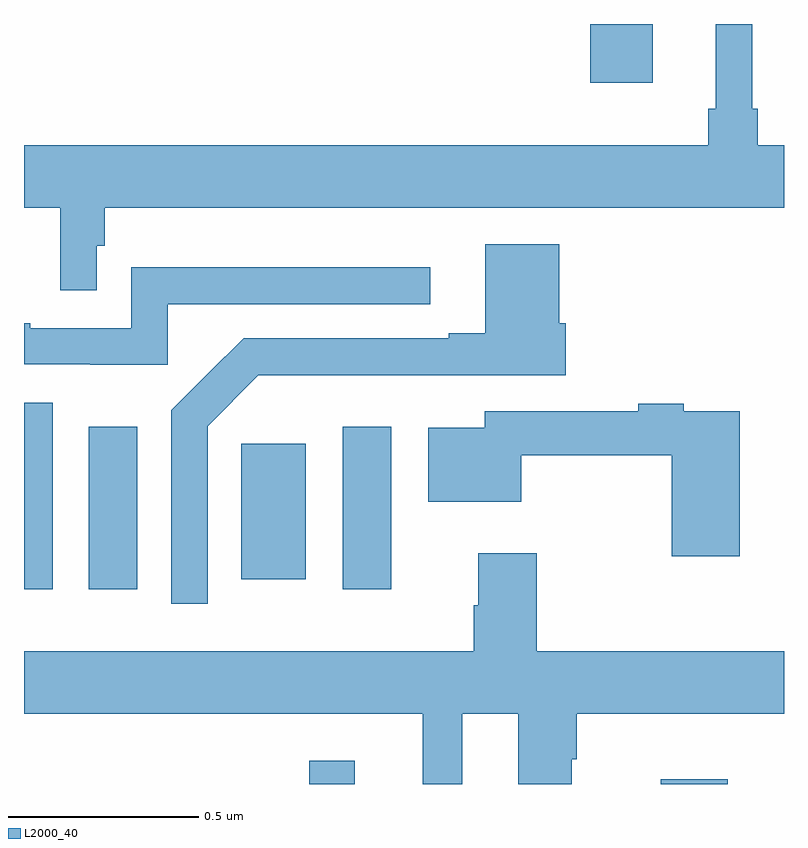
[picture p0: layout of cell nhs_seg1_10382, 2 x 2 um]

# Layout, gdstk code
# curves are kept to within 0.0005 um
import gdstk
lib = gdstk.Library(unit=1e-6, precision=1e-09)
def R(c, l, rs):  # rectangles x0, y0, x1, y1
    for r in rs: c.add(gdstk.rectangle(r[:2], r[2:], *l))
def P(c, l, *ps):  # polygons
    for p in ps: c.add(gdstk.Polygon(p, *l))
L2000_40 = (2000, 40)

nhs_seg1_10382 = lib.new_cell('nhs_seg1_10382')
R(nhs_seg1_10382, L2000_40, [(240.75,566.199,240.871,566.26), (241.676,566.199,241.852,566.212), (240,566.712,240.076,567.202), (240.17,566.712,240.298,567.139), (240.839,566.712,240.967,567.139), (240.572,566.738,240.742,567.094), (241.49,568.044,241.654,568.199)])
P(nhs_seg1_10382, L2000_40, [(240.192,567.615),(240.212,567.615),(240.212,567.716),(242,567.716),(242,567.88),(241.931,567.88),(241.931,567.976),(241.917,567.976),(241.917,568.199),(241.82,568.199),(241.82,567.976),(241.801,567.976),(241.801,567.88),(240,567.88),(240,567.716),(240.095,567.716),(240.095,567.498),(240.192,567.498)],
  [(240.483,567.141),(240.617,567.275),(241.426,567.275),(241.426,567.411),(241.408,567.411),(241.408,567.619),(241.214,567.619),(241.214,567.385),(241.118,567.385),(241.118,567.372),(240.578,567.372),(240.387,567.183),(240.387,566.673),(240.483,566.673)],
  [(240.378,567.462),(241.069,567.462),(241.069,567.559),(240.282,567.559),(240.282,567.399),(240.016,567.399),(240.016,567.412),(240,567.412),(240,567.303),(240.174,567.303),(240.174,567.302),(240.378,567.302)],
  [(241.883,567.18),(241.736,567.18),(241.736,567.2),(241.616,567.2),(241.616,567.18),(241.212,567.18),(241.212,567.136),(241.064,567.136),(241.064,566.942),(241.308,566.942),(241.308,567.064),(241.705,567.064),(241.705,566.799),(241.883,566.799)],
  [(241.153,566.384),(241.301,566.384),(241.301,566.199),(241.441,566.199),(241.441,566.264),(241.454,566.264),(241.454,566.384),(242,566.384),(242,566.548),(241.349,566.548),(241.349,566.806),(241.196,566.806),(241.196,566.669),(241.184,566.669),(241.184,566.548),(240,566.548),(240,566.384),(241.049,566.384),(241.049,566.199),(241.153,566.199)])

lib.write_gds('nhs_seg1_10382.gds')
